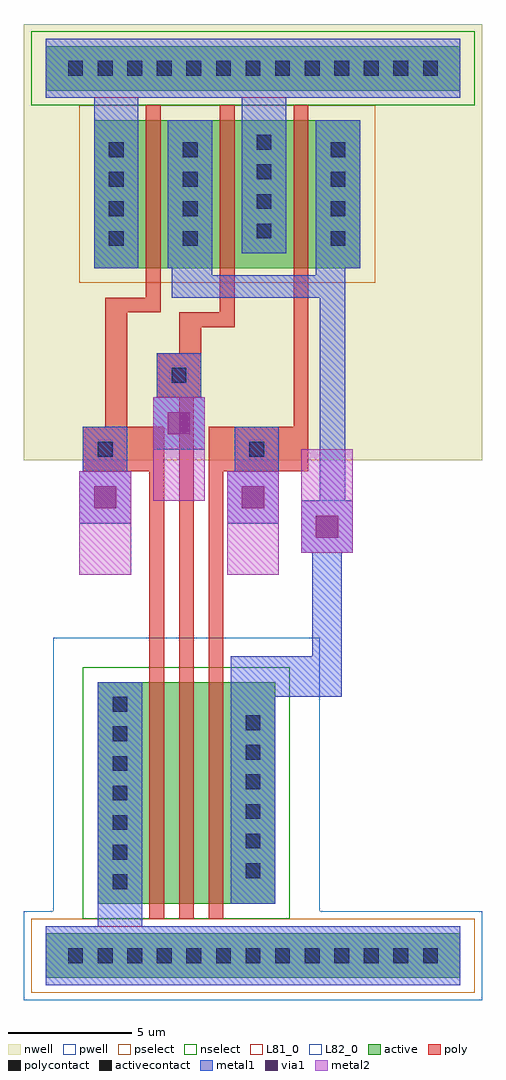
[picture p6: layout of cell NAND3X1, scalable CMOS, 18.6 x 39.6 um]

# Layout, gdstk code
import gdstk
lib = gdstk.Library(unit=1e-6, precision=1e-09)
def R(c, l, rs):  # rectangles x0, y0, x1, y1
    for r in rs: c.add(gdstk.rectangle(r[:2], r[2:], *l))
def A(c, l, x, y, w, h, nx, ny, dx, dy):  # array of equal rectangles
    R(c, l, [(x+i*dx, y+j*dy, x+i*dx+w, y+j*dy+h) for i in range(nx) for j in range(ny)])
pwell = (41, 0)
nwell = (42, 0)
active = (43, 0)
pselect = (44, 0)
nselect = (45, 0)
poly = (46, 0)
polycontact = (47, 0)
activecontact = (48, 0)
metal1 = (49, 0)
via1 = (50, 0)
metal2 = (51, 0)
L81_0 = (81, 0)
L82_0 = (82, 0)

nand3x1 = lib.new_cell('NAND3X1')
R(nand3x1, pwell, [(-1.8,-1.8,16.8,1.8), (-0.6,1.8,10.2,12.9)])
R(nand3x1, nwell, [(-1.8,20.1,16.8,37.8)])
R(nand3x1, active, [(-0.9,-0.9,15.9,0.9), (1.2,2.1,8.4,11.1), (1.05,27.9,11.85,33.9), (-0.9,35.1,15.9,36.9)])
R(nand3x1, pselect, [(-1.5,-1.5,16.5,1.5), (0.45,27.3,12.45,34.5)])
R(nand3x1, nselect, [(0.6,1.5,9,11.7), (-1.5,34.5,16.5,37.5)])
R(nand3x1, poly, [(3.3,1.5,3.9,19.65), (4.5,1.5,5.1,22.65), (5.7,1.5,6.3,19.65), (0.6,19.65,3.9,21.45), (5.7,19.65,9.75,21.45), (1.5,21.45,2.4,26.1), (9.15,21.45,9.75,34.5), (3.6,22.65,5.4,24.45), (4.5,24.45,5.4,25.5), (4.5,25.5,6.75,26.1), (1.5,26.1,3.75,26.7), (6.15,26.1,6.75,34.5), (3.15,26.7,3.75,34.5)])
R(nand3x1, polycontact, [(1.2,20.25,1.8,20.85), (7.35,20.25,7.95,20.85), (4.2,23.25,4.8,23.85)])
A(nand3x1, activecontact, 0, -0.3, 0.6, 0.6, 13, 2, 1.2, 36)
A(nand3x1, activecontact, 1.8, 2.7, 0.6, 0.6, 1, 7, 0, 1.2)
A(nand3x1, activecontact, 7.2, 3.15, 0.6, 0.6, 1, 6, 0, 1.2)
A(nand3x1, activecontact, 1.65, 28.8, 0.6, 0.6, 1, 4, 0, 1.2)
A(nand3x1, activecontact, 4.65, 28.8, 0.6, 0.6, 1, 4, 0, 1.2)
A(nand3x1, activecontact, 10.65, 28.8, 0.6, 0.6, 1, 4, 0, 1.2)
A(nand3x1, activecontact, 7.65, 29.1, 0.6, 0.6, 1, 4, 0, 1.2)
R(nand3x1, metal1, [(-0.9,-1.2,15.9,1.2), (1.2,1.2,3,11.1), (6.6,2.1,8.4,10.5), (6.6,10.5,11.1,12.15), (9.9,12.15,11.1,16.35), (9.45,16.35,11.55,18.45), (0.45,17.55,2.55,19.65), (6.45,17.55,8.55,19.65), (10.2,18.45,11.25,26.7), (0.6,19.65,2.4,21.45), (6.75,19.65,8.55,21.45), (3.45,20.55,5.55,22.65), (3.6,22.65,5.4,24.45), (4.2,26.7,11.25,27.6), (4.2,27.6,5.85,27.9), (10.05,27.6,11.25,27.9), (1.05,27.9,2.85,34.8), (4.05,27.9,5.85,33.9), (10.05,27.9,11.85,33.9), (7.05,28.5,8.85,34.8), (-0.9,34.8,15.9,37.2)])
R(nand3x1, via1, [(10.05,16.95,10.95,17.85), (1.05,18.15,1.95,19.05), (7.05,18.15,7.95,19.05), (4.05,21.15,4.95,22.05)])
R(nand3x1, metal2, [(0.45,15.45,2.55,19.65), (6.45,15.45,8.55,19.65), (9.45,16.35,11.55,20.55), (3.45,18.45,5.55,22.65)])
R(nand3x1, L81_0, [(-0.9,-1.2,15.9,1.2), (-0.9,34.8,15.9,37.2)])
R(nand3x1, L82_0, [(0.45,15.45,2.55,17.55), (6.45,15.45,8.55,17.55), (3.45,18.45,5.55,20.55), (9.45,18.45,11.55,20.55)])

lib.write_gds('NAND3X1.gds')
